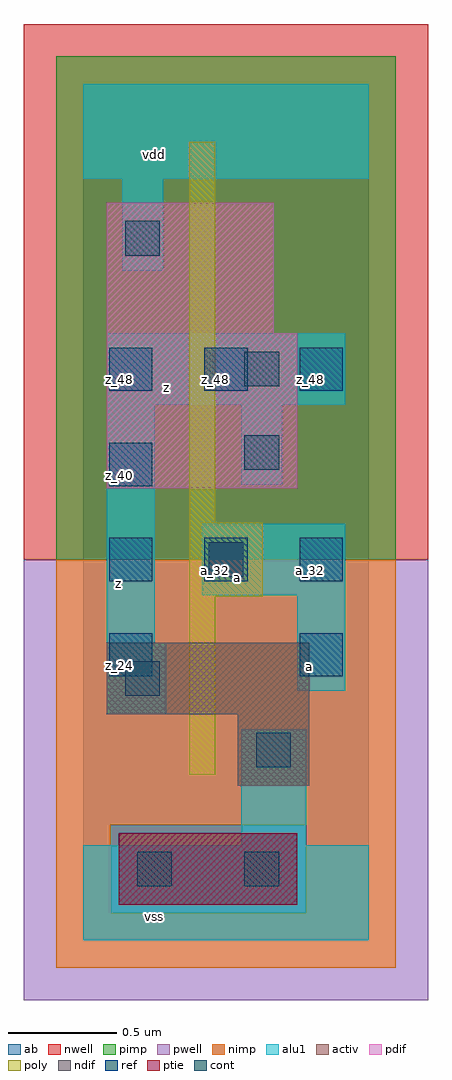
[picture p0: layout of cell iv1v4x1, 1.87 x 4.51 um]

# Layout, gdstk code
import gdstk
lib = gdstk.Library(unit=1e-6, precision=2.5e-09)
def R(c, l, rs):  # rectangles x0, y0, x1, y1
    for r in rs: c.add(gdstk.rectangle(r[:2], r[2:], *l))
def A(c, l, x, y, w, h, nx, ny, dx, dy):  # array of equal rectangles
    R(c, l, [(x+i*dx, y+j*dy, x+i*dx+w, y+j*dy+h) for i in range(nx) for j in range(ny)])
ndif = (3, 0)
pdif = (4, 0)
ptie = (6, 0)
ref = (24, 0)
cont = (25, 0)
pwell = (41, 0)
nwell = (42, 0)
activ = (43, 0)
pimp = (44, 0)
nimp = (45, 0)
poly = (46, 0)
alu1 = (49, 0)
ab = (63, 0)

iv1v4x1 = lib.new_cell('iv1v4x1')
R(iv1v4x1, ndif, [(0.715,0.715,1.045,1.045), (0.11,1.045,1.045,1.375)])
R(iv1v4x1, pdif, [(0.11,2.09,0.99,2.805), (0.11,2.805,0.88,3.41)])
R(iv1v4x1, ptie, [(0.165,0.165,0.99,0.495)])
A(iv1v4x1, ref, 0.12, 1.66, 0.2, 0.2, 3, 2, 0.44, 0.88)
R(iv1v4x1, ref, [(0.12,1.22,0.32,1.42), (1,1.22,1.2,1.42), (0.12,2.1,0.32,2.3)])
R(iv1v4x1, cont, [(0.25,0.25,0.41,0.41), (0.745,0.25,0.905,0.41), (0.8,0.8,0.96,0.96), (0.195,1.13,0.355,1.29), (0.58,1.68,0.74,1.84), (0.745,2.175,0.905,2.335), (0.745,2.56,0.905,2.72), (0.195,3.165,0.355,3.325)])
R(iv1v4x1, pwell, [(-0.275,-0.275,1.595,1.76)])
R(iv1v4x1, nwell, [(-0.275,1.76,1.595,4.235)])
R(iv1v4x1, activ, [(0.165,0.165,0.99,0.495), (0.715,0.715,1.045,1.045), (0.11,1.045,1.045,1.375), (0.11,2.09,0.99,2.805), (0.11,2.805,0.88,3.41)])
R(iv1v4x1, pimp, [(0.125,0.125,1.03,0.535), (-0.125,1.76,1.445,4.085)])
R(iv1v4x1, nimp, [(-0.125,-0.125,1.445,0.125), (-0.125,0.125,0.125,0.535), (1.03,0.125,1.445,0.535), (-0.125,0.535,1.445,1.76)])
R(iv1v4x1, poly, [(0.49,0.765,0.61,1.59), (0.49,1.59,0.83,1.93), (0.49,1.93,0.61,3.69)])
R(iv1v4x1, alu1, [(0,0,1.32,0.44), (0.73,0.44,1.03,0.975), (0.11,1.045,0.385,1.375), (0.99,1.155,1.21,1.595), (0.11,1.375,0.33,2.475), (0.55,1.595,1.21,1.925), (0.73,2.105,0.92,2.475), (0.11,2.475,1.21,2.805), (0.18,3.095,0.37,3.52), (0,3.52,1.32,3.96)])
R(iv1v4x1, ab, [(0,0,1.32,3.96)])
iv1v4x1.add(gdstk.Label('vss', (0.33,0.11), layer=49, texttype=0))
iv1v4x1.add(gdstk.Label('a', (1.045,1.265), layer=49, texttype=0))
iv1v4x1.add(gdstk.Label('a', (0.715,1.6775), layer=49, texttype=0))
iv1v4x1.add(gdstk.Label('z', (0.165,1.65), layer=49, texttype=0))
iv1v4x1.add(gdstk.Label('z', (0.385,2.5575), layer=49, texttype=0))
iv1v4x1.add(gdstk.Label('vdd', (0.33,3.63), layer=49, texttype=0))
iv1v4x1.add(gdstk.Label('a_32', (0.61,1.71), layer=24, texttype=0))
iv1v4x1.add(gdstk.Label('z_48', (0.61,2.59), layer=24, texttype=0))
iv1v4x1.add(gdstk.Label('a_24', (1.05,1.27), layer=24, texttype=0))
iv1v4x1.add(gdstk.Label('a_32', (1.05,1.71), layer=24, texttype=0))
iv1v4x1.add(gdstk.Label('z_48', (1.05,2.59), layer=24, texttype=0))
iv1v4x1.add(gdstk.Label('z_24', (0.17,1.27), layer=24, texttype=0))
iv1v4x1.add(gdstk.Label('z_32', (0.17,1.71), layer=24, texttype=0))
iv1v4x1.add(gdstk.Label('z_40', (0.17,2.15), layer=24, texttype=0))
iv1v4x1.add(gdstk.Label('z_48', (0.17,2.59), layer=24, texttype=0))

lib.write_gds('iv1v4x1.gds')
